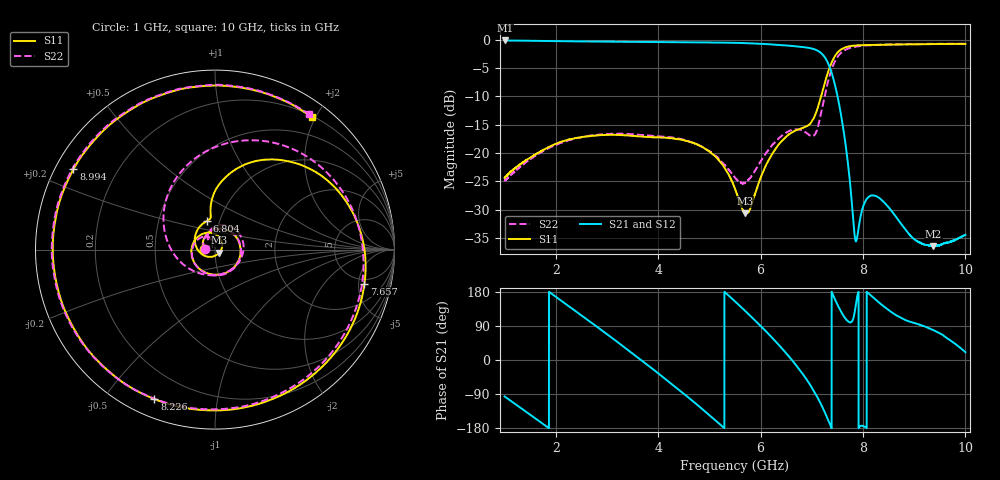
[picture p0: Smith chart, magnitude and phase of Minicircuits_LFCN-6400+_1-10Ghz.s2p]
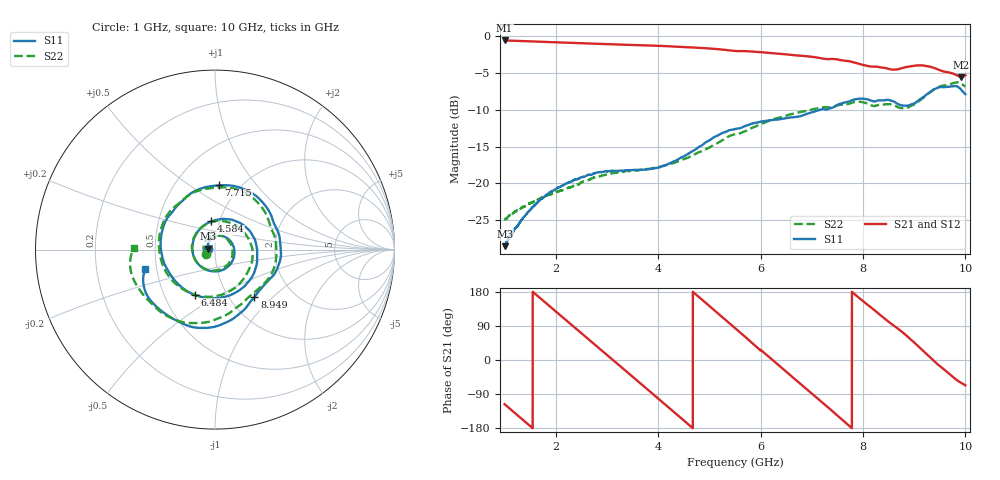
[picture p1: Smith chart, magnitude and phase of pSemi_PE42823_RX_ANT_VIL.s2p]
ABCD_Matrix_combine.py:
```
import skrf as rf
import numpy as np
import os
import matplotlib.pyplot as plt
from matplotlib.ticker import (MultipleLocator, FormatStrFormatter, AutoMinorLocator)


# ---------------------User Input--------------------------------
# Frequency Range
freq_lower = 1e9
freq_upper = 10e9

# plot attributes
freq_step = 1e9
plt_ylim = [-30, 0]     # y axis limit: 0 to -20dB
plt_ytick = np.arange(-30, 5, 5)
plt_xlim = [freq_lower, freq_upper]
plt_xtick = np.arange(freq_lower, freq_upper+freq_step, freq_step)
plt_title_s_para = 'PE42823 S-Parameter 1; ' + str(int(freq_lower/1e9)) + '-' + str(int(freq_upper/1e9)) + 'Ghz'
plt_title2 = '; CTRL=Low; Port 1 = RF2(RX); Port 2 = RFC(ANT)'
plt_title_s_para = plt_title_s_para + plt_title2
plt_title_smith = 'PE42823 Smith Chart 1; ' + str(int(freq_lower/1e9)) + '-' + str(int(freq_upper/1e9)) + 'Ghz'
plt_title_smith = plt_title_smith + plt_title2
# -----------------------------------------------------------------

# reading file
# TouchStone File Path = Current directory + file name
LFCN_6400_TS_file = os.getcwd() + "\\S Parameter\\Minicircuits_LFCN-6400+_1-10Ghz.s2p"
LFCN_6400_network = rf.Network(LFCN_6400_TS_file)   # open touch stone file

PE42823_TS_file = os.getcwd() + "\\S Parameter\\pSemi_PE42823_RX_ANT_VIL.s2p"
PE42823_network = rf.Network(PE42823_TS_file)   # open touch stone file

# change network parameter
LFCN_6400_network.crop(freq_lower, freq_upper, "Hz")   # only use data from 1-6Ghz
LFCN_6400_network.frequency.unit = 'GHz'

PE42823_network.crop(freq_lower, freq_upper, "Hz")   # only use data from 1-6Ghz
PE42823_network.frequency.unit = 'GHz'

LFCN_6400_ABCD = LFCN_6400_network.a
combined_network = rf.cascade(LFCN_6400_network, PE42823_network)

# write to a file in TouchStone Format
combined_network.write_touchstone('Python_combined_test_file', os.getcwd() + "\\S Parameter\\")

print()
# # plot data
# fig1, ax1 = plt.subplots(1)
# LFCN_6400_network.plot_s_db(m=0, n=0, label='OU s11', color='r')     # zero indexing; 0 refers to port 1
# LFCN_6400_network.plot_s_db(m=1, n=0, label='OU s21', color='b')     # zero indexing; 0 refers to port 1
# LFCN_6400_network.plot_s_db(m=0, n=1, label='OU s12', color='g')     # zero indexing; 0 refers to port 1
# LFCN_6400_network.plot_s_db(m=1, n=1, label='OU s22', color='y')     # zero indexing; 0 refers to port 1
#
# PE42823_network.plot_s_db(m=2, n=2, label='pSemi s11', color='r', linestyle='--')     # zero indexing; 0 refers to port 1
# PE42823_network.plot_s_db(m=0, n=2, label='pSemi s21', color='b', linestyle='--')     # zero indexing; 0 refers to port 1
# PE42823_network.plot_s_db(m=2, n=0, label='pSemi s12', color='g', linestyle='--')     # zero indexing; 0 refers to port 1
# PE42823_network.plot_s_db(m=0, n=0, label='pSemi s22', color='y', linestyle='--')     # zero indexing; 0 refers to port 1
#
# ax1.set_ylim(plt_ylim)
# ax1.yaxis.set_ticks(plt_ytick)
# ax1.set_xlim(plt_xlim)
# ax1.xaxis.set_ticks(plt_xtick)
# ax1.yaxis.set_minor_locator(AutoMinorLocator())      # show minor tick
# ax1.xaxis.set_minor_locator(AutoMinorLocator())      # show minor tick
# ax1.grid(True, which='major', linestyle='-')
# ax1.grid(True, which='minor', linestyle=':')
# ax1.legend(loc='upper left', bbox_to_anchor=(1, 1))  # loc='legend box ref position'
# ax1.set_title(plt_title_s_para)
# fig1.set_size_inches(12, 6)
# plt.subplots_adjust(left=0.1, right=0.8)
# plt.savefig(fname=plt_title_s_para, dpi=300, bbox_inches='tight')
#
# fig1, ax1 = plt.subplots(1)
# LFCN_6400_network.plot_s_smith(m=0, n=0, label='OU s11', color='r')
# LFCN_6400_network.plot_s_smith(m=1, n=1, label='OU s22', color='y')
#
# PE42823_network.plot_s_smith(m=2, n=2, label='pSemi s11', color='r', linestyle='--')     # zero indexing; 0 refers to port 1
# PE42823_network.plot_s_smith(m=0, n=0, label='pSemi s22', color='y', linestyle='--')     # zero indexing; 0 refers to port 1
#
# ax1.set_title(plt_title_smith)
# ax1.legend(loc='upper left', bbox_to_anchor=(0.9, 0.9))  # loc='legend box ref position'
# fig1.set_size_inches(6, 6)
# plt.savefig(fname=plt_title_smith, dpi=300, bbox_inches='tight')
#
# plt.show()
```
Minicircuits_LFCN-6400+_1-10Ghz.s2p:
# Hz S RI R 50
! CMT, C4220, 17028609, 19.4.3/2
! Date: 4/21/2020 5:27:26 PM
! Data: Format (Calibration Info)
! Freq	S11:Re/Im(F2)	S21:Re/Im(F2)	S12:Re/Im(F2)	S22:Re/Im(F2)
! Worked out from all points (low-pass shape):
!   9001 points, 1 GHz to 10 GHz, reference 50 ohm
!   highest |S21| = -0.16 dB at 1.007 GHz (marker M1); lowest = -36.4 dB at 9.376 GHz (marker M2)
!   |S21| within 3 dB of the highest: start of sweep to 7.257 GHz
!   lowest |S11| = -30.6 dB at 5.697 GHz (marker M3), VSWR 1.06, Z = 52.4 - j1.79 ohm
!   |S11| at or under -10 dB: start of sweep to 7.182 GHz
!   |S22| runs from -25.4 to -0.7 dB; largest |S21 - S12| = 0.0095
!   S11 on the Smith chart (normalised r, x): 1 GHz: 0.89, +0.00; 6.804 GHz: 0.87, +0.29; 7.657 GHz: 4.25, -5.94; 8.226 GHz: 0.08, -0.67; 8.994 GHz: 0.05, +0.26; 10 GHz: 0.22, +1.95
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1e9  -0.0606 0.00161  -0.1078 -0.9753  -0.1057 -0.9749  -0.0572 0.00151
1.007e9  -0.061 0.00233  -0.1193 -0.9742  -0.117 -0.9734  -0.0575 0.00202
3.715e9  -0.0207 -0.1377  0.9487 -0.0842  0.9486 -0.0821  0.00242 -0.1441
5.5e9  0.04 0.0274  -0.8449 0.4002  -0.8461 0.3976  -0.022 0.0568
5.697e9  0.0241 -0.017  -0.5939 0.7151  -0.5981 0.7113  -0.027 0.0476
6.804e9  -0.0445 0.1595  0.7194 -0.4726  0.7189 -0.4718  0.1591 0.00205
7.657e9  0.8329 -0.1889  -0.0404 0.1147  -0.0407 0.1145  0.8058 0.1048
8.226e9  -0.3372 -0.8329  -0.0401 0.013  -0.0402 0.0129  -0.2317 -0.8647
8.994e9  -0.7886 0.4481  -0.00243 0.0174  -0.00246 0.0174  -0.8226 0.3941
9.376e9  -0.3213 0.8533  0.00296 0.0149  0.00295 0.0149  -0.3735 0.8367
1e10  0.5384 0.7388  0.0178 0.00674  0.0178 0.00676  0.5218 0.7549
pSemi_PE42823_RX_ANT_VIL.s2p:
# Hz S RI R 50
! CMT, C4220, 17028609, 19.4.3/2
! Date: 4/22/2020 1:44:20 PM
! Data: Format (Calibration Info)
! Freq	S11:Re/Im(F2)	S21:Re/Im(F2)	S12:Re/Im(F2)	S22:Re/Im(F2)
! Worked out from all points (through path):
!   9001 points, 1 GHz to 10 GHz, reference 50 ohm
!   highest |S21| = -0.61 dB at 1 GHz (marker M1); lowest = -5.6 dB at 9.917 GHz (marker M2)
!   group delay of S21, straight-line fit = 320 ps
!   lowest |S11| = -28.5 dB at 1.001 GHz (marker M3), VSWR 1.08, Z = 46.4 + j0.416 ohm
!   |S11| at or under -10 dB: start of sweep to 7.168 GHz; 7.279877 GHz to 7.280142 GHz (265.1 kHz wide, 0.00364 % of centre)
!   |S22| runs from -24.9 to -6.3 dB; largest |S21 - S12| = 0.038
!   S11 on the Smith chart (normalised r, x): 1 GHz: 0.93, +0.01; 4.584 GHz: 0.92, +0.30; 6.484 GHz: 0.71, -0.39; 7.715 GHz: 0.80, +0.66; 8.949 GHz: 1.30, -0.78; 10 GHz: 0.43, -0.11
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1e9  -0.0373 0.00434  -0.4173 -0.833  -0.4139 -0.8354  -0.0521 -0.0233
1.001e9  -0.0372 0.00448  -0.419 -0.8321  -0.4158 -0.8348  -0.0522 -0.0233
2.222e9  0.0926 0.0393  -0.1958 0.8778  -0.1978 0.8775  0.0863 0.0342
3.141e9  0.0132 -0.1208  0.8752 -0.0431  0.876 -0.0439  -0.0119 -0.1171
4.584e9  -0.0198 0.1572  -0.8245 -0.1562  -0.8269 -0.1465  -0.0486 0.1413
5.5e9  0.2333 0.00905  0.0779 0.7869  0.0749 0.7883  0.2066 -0.0629
6.484e9  -0.1097 -0.2533  0.6571 -0.3639  0.6516 -0.3747  -0.1984 -0.2073
7.715e9  0.0217 0.3578  -0.6682 -0.0969  -0.6698 -0.0855  0.0142 0.3453
8.949e9  0.2199 -0.2648  0.3809 0.4943  0.3905 0.4858  0.1513 -0.3006
9.917e9  -0.4005 -0.163  0.2616 -0.4556  0.2515 -0.4613  -0.4717 -0.0551
1e10  -0.3875 -0.1099  0.2122 -0.4978  0.2014 -0.5026  -0.4532 0.0107
